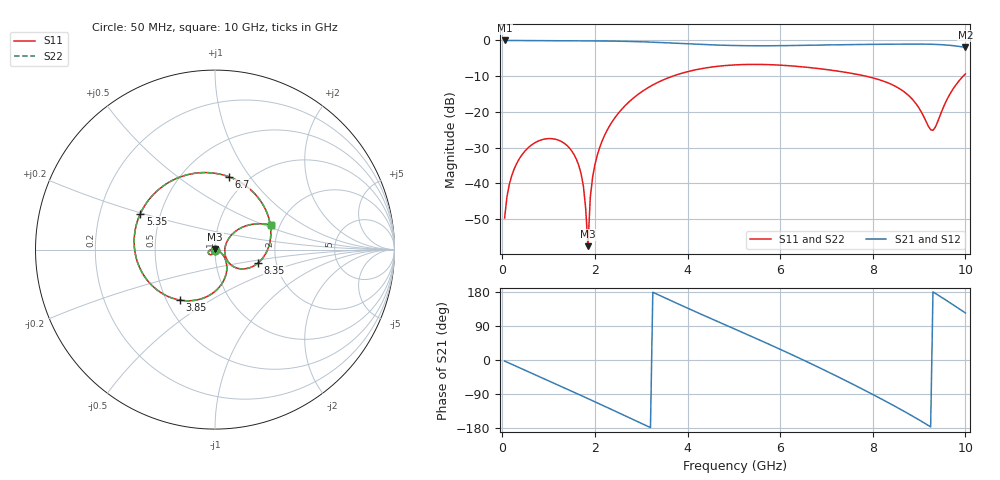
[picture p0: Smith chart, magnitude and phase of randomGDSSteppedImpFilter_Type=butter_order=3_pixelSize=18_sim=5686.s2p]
! freq	dB(S11)	phase(S11)	dB(S12)	phase(S12)
!  dB(S21)	phase(S21)	dB(S22)	phase(S22)
!S-par simulation data
#  GHz  S  DB  R 50
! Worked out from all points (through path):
!   200 points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, 50 MHz to 10 GHz, reference 50 ohm
!   highest |S21| = 0.00 dB at 50 MHz (marker M1); lowest = -1.9 dB at 10 GHz (marker M2)
!   group delay of S21, straight-line fit = 160 ps
!   lowest |S11| = -57.6 dB at 1.85 GHz (marker M3), VSWR 1.00, Z = 50.1 + j0.0897 ohm
!   |S11| at or under -10 dB: start of sweep to 3.681 GHz; 7.848 GHz to 9.953 GHz (2.104 GHz wide, 23.6 % of centre)
!   |S22| runs from -56.8 to -6.7 dB; largest |S21 - S12| = 0
!   S11 on the Smith chart (normalised r, x): 50 MHz: 1.00, -0.01; 3.85 GHz: 0.58, -0.37; 5.35 GHz: 0.38, +0.20; 6.7 GHz: 0.82, +0.80; 8.35 GHz: 1.61, -0.25; 10 GHz: 1.79, +0.55
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0.05  -49.74 -90.8  -0.00 -2.8  -0.00 -2.8  -49.73 -90.8
0.15  -40.42 -96.7  -0.01 -8.3  -0.01 -8.3  -40.42 -96.7
0.3  -34.74 -105.8  -0.03 -16.5  -0.03 -16.5  -34.74 -105.9
0.8  -28.05 -134.9  -0.06 -43.9  -0.06 -43.9  -28.05 -134.9
1.4  -29.45 -169.0  -0.09 -76.9  -0.09 -76.9  -29.45 -169.1
1.6  -33.27 178.9  -0.10 -88.0  -0.10 -88.0  -33.27 178.6
1.75  -40.67 166.8  -0.11 -96.3  -0.11 -96.3  -40.66 165.9
1.85  -57.62 42.9  -0.12 -101.9  -0.12 -101.9  -56.80 46.2
1.9  -43.96 -5.8  -0.12 -104.7  -0.12 -104.7  -43.91 -4.4
1.95  -38.35 -13.1  -0.12 -107.5  -0.12 -107.5  -38.33 -12.4
2.2  -26.82 -30.8  -0.15 -121.5  -0.15 -121.5  -26.82 -30.6
2.8  -16.47 -65.8  -0.29 -155.6  -0.29 -155.6  -16.47 -65.8
3.4  -11.49 -100.0  -0.57 170.3  -0.57 170.3  -11.49 -100.0
3.85  -9.28 -125.1  -0.85 145.1  -0.85 145.1  -9.28 -125.1
5.05  -6.83 170.3  -1.43 80.1  -1.43 80.1  -6.83 170.2
5.35  -6.71 154.2  -1.48 63.9  -1.48 63.9  -6.71 154.1
6.1  -7.00 113.2  -1.45 22.7  -1.45 22.7  -7.00 113.0
6.7  -7.68 79.1  -1.33 -11.7  -1.33 -11.7  -7.69 78.9
7.6  -9.34 26.5  -1.15 -65.8  -1.15 -65.8  -9.35 26.2
8.35  -12.00 -17.1  -1.05 -113.5  -1.05 -113.5  -12.00 -17.4
9.3  -25.17 2.8  -1.08 179.8  -1.08 179.8  -25.20 2.7
10  -9.38 23.7  -1.94 124.2  -1.94 124.2  -9.37 23.5
